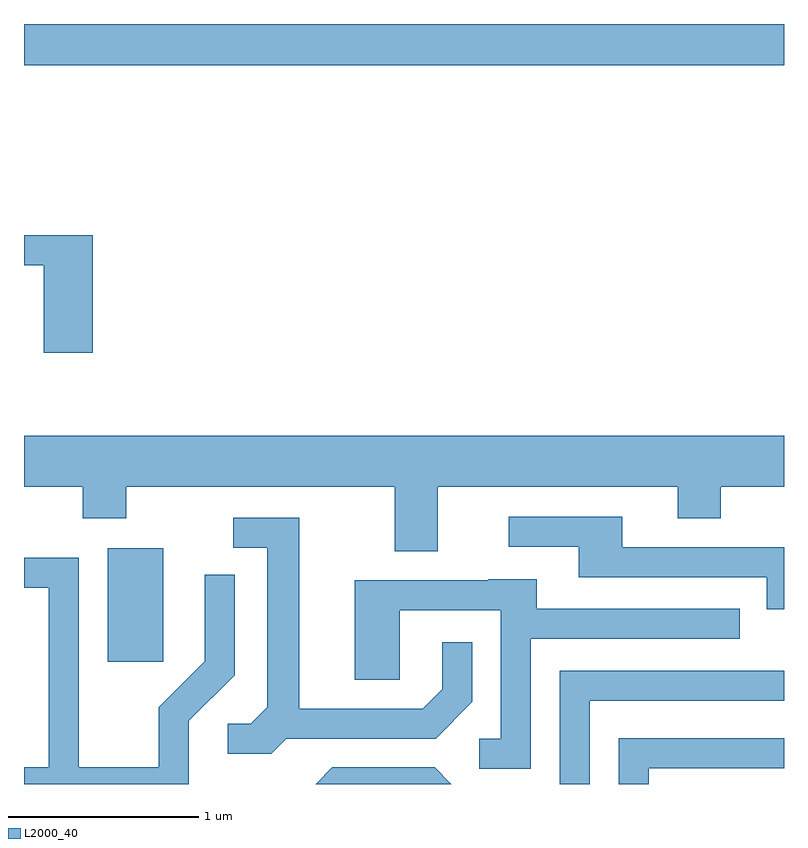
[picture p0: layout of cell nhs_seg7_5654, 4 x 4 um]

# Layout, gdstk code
import gdstk
lib = gdstk.Library(unit=1e-6, precision=1e-09)
def R(c, l, rs):  # rectangles x0, y0, x1, y1
    for r in rs: c.add(gdstk.rectangle(r[:2], r[2:], *l))
def P(c, l, *ps):  # polygons
    for p in ps: c.add(gdstk.Polygon(p, *l))
L2000_40 = (2000, 40)

nhs_seg7_5654 = lib.new_cell('nhs_seg7_5654')
R(nhs_seg7_5654, L2000_40, [(358.051,1768.896,358.344,1769.494), (357.611,1772.036,361.611,1772.252)])
P(nhs_seg7_5654, L2000_40, [(357.974,1771.139),(357.611,1771.139),(357.611,1770.981),(357.716,1770.981),(357.716,1770.521),(357.974,1770.521)],
  [(359.789,1769.816),(361.051,1769.816),(361.051,1769.651),(361.279,1769.651),(361.279,1769.816),(361.611,1769.816),(361.611,1770.084),(357.611,1770.084),(357.611,1769.816),(357.921,1769.816),(357.921,1769.651),(358.149,1769.651),(358.149,1769.816),(359.561,1769.816),(359.561,1769.476),(359.789,1769.476)],
  [(361.611,1769.499),(360.759,1769.499),(360.759,1769.659),(360.163,1769.659),(360.163,1769.501),(360.531,1769.501),(360.531,1769.341),(361.521,1769.341),(361.521,1769.171),(361.611,1769.171)],
  [(358.992,1768.491),(359.777,1768.491),(359.969,1768.684),(359.969,1768.998),(359.811,1768.998),(359.811,1768.752),(359.709,1768.649),(359.059,1768.649),(359.059,1769.654),(358.713,1769.654),(358.713,1769.496),(358.891,1769.496),(358.891,1768.657),(358.804,1768.569),(358.683,1768.569),(358.683,1768.411),(358.912,1768.411)],
  [(358.479,1768.584),(358.719,1768.824),(358.719,1769.353),(358.561,1769.353),(358.561,1768.897),(358.321,1768.657),(358.321,1768.339),(357.899,1768.339),(357.899,1769.444),(357.611,1769.444),(357.611,1769.286),(357.741,1769.286),(357.741,1768.339),(357.611,1768.339),(357.611,1768.252),(358.479,1768.252)],
  [(360.279,1769.016),(361.378,1769.016),(361.378,1769.174),(360.309,1769.174),(360.309,1769.329),(360.055,1769.329),(360.055,1769.324),(359.351,1769.324),(359.351,1768.801),(359.589,1768.801),(359.589,1769.166),(360.121,1769.166),(360.121,1768.489),(360.008,1768.489),(360.008,1768.331),(360.279,1768.331)],
  [(360.589,1768.691),(361.611,1768.691),(361.611,1768.849),(360.431,1768.849),(360.431,1768.252),(360.589,1768.252)],
  [(360.899,1768.336),(361.611,1768.336),(361.611,1768.494),(360.741,1768.494),(360.741,1768.252),(360.899,1768.252)],
  [(359.772,1768.339),(359.234,1768.339),(359.147,1768.252),(359.859,1768.252)])

lib.write_gds('nhs_seg7_5654.gds')
